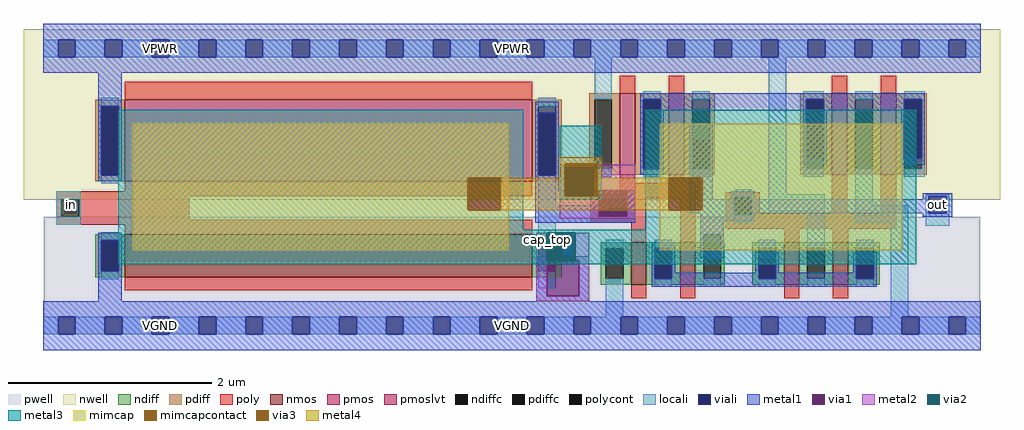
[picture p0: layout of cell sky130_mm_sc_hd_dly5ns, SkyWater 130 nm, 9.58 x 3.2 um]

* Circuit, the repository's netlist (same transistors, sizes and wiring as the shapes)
* NGSPICE file created from sky130_mm_sc_hd_dly5ns.ext - technology: sky130A

.subckt sky130_mm_sc_hd_dly5ns in out VPWR VGND VNB VPB
X0 a_1184_80# out VPWR VNB sky130_fd_pr__nfet_01v8 ad=3.99e+11p pd=4.42e+06u as=1.386e+11p ps=1.5e+06u w=420000u l=150000u
X1 cap_top VGND sky130_fd_pr__cap_mim_m3_1 l=1.24e+06u w=3.695e+06u
X2 VPWR out a_1184_80# VNB sky130_fd_pr__nfet_01v8 ad=0p pd=0u as=0p ps=0u w=420000u l=150000u
X3 VGND out a_1162_296# VPB sky130_fd_pr__pfet_01v8 ad=2.64e+11p pd=2.26e+06u as=7.52e+11p ps=6.68e+06u w=800000u l=150000u
X4 a_1162_296# out VGND VPB sky130_fd_pr__pfet_01v8 ad=0p pd=0u as=0p ps=0u w=800000u l=150000u
X5 cap_top in VGND VNB sky130_fd_pr__nfet_01v8 ad=1.218e+11p pd=1.42e+06u as=2.478e+11p ps=2.86e+06u w=420000u l=4e+06u
X6 cap_top VGND sky130_fd_pr__cap_mim_m3_1 l=1.24e+06u w=2.38e+06u
X7 a_1162_296# cap_top VPWR VPB sky130_fd_pr__pfet_01v8 ad=0p pd=0u as=4.72e+11p ps=4.38e+06u w=800000u l=150000u
X8 out cap_top a_1162_296# VPB sky130_fd_pr__pfet_01v8 ad=2.4e+11p pd=2.2e+06u as=0p ps=0u w=800000u l=150000u
X9 cap_top in VPWR VPB sky130_fd_pr__pfet_01v8_lvt ad=2.32e+11p pd=2.18e+06u as=0p ps=0u w=800000u l=4e+06u
X10 out cap_top a_1184_80# VNB sky130_fd_pr__nfet_01v8 ad=1.218e+11p pd=1.42e+06u as=0p ps=0u w=420000u l=150000u
X11 a_1184_80# cap_top VGND VNB sky130_fd_pr__nfet_01v8 ad=0p pd=0u as=0p ps=0u w=420000u l=150000u
.ends

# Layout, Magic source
magic
tech sky130A
magscale 1 2
<< nwell >>
rect -38 247 1878 582
<< pwell >>
rect 1 -17 1839 214
<< nmos >>
rect 160 95 960 179
rect 1154 80 1184 164
rect 1250 80 1280 164
rect 1454 80 1484 164
rect 1550 80 1580 164
<< pmos >>
rect 1132 296 1162 456
rect 1228 296 1258 456
rect 1548 296 1578 456
rect 1644 296 1674 456
<< pmoslvt >>
rect 160 283 960 443
<< ndiff >>
rect 102 167 160 179
rect 102 107 114 167
rect 148 107 160 167
rect 102 95 160 107
rect 960 167 1018 179
rect 960 107 972 167
rect 1006 107 1018 167
rect 960 95 1018 107
rect 1094 152 1154 164
rect 1094 92 1104 152
rect 1138 92 1154 152
rect 1094 80 1154 92
rect 1184 152 1250 164
rect 1184 92 1200 152
rect 1234 92 1250 152
rect 1184 80 1250 92
rect 1280 152 1338 164
rect 1280 92 1296 152
rect 1330 92 1338 152
rect 1280 80 1338 92
rect 1392 152 1454 164
rect 1392 92 1404 152
rect 1438 92 1454 152
rect 1392 80 1454 92
rect 1484 152 1550 164
rect 1484 92 1500 152
rect 1534 92 1550 152
rect 1484 80 1550 92
rect 1580 152 1642 164
rect 1580 92 1596 152
rect 1630 92 1642 152
rect 1580 80 1642 92
<< pdiff >>
rect 1072 444 1132 456
rect 102 431 160 443
rect 102 295 114 431
rect 148 295 160 431
rect 102 283 160 295
rect 960 431 1018 443
rect 960 295 972 431
rect 1006 295 1018 431
rect 1072 308 1082 444
rect 1116 308 1132 444
rect 1072 296 1132 308
rect 1162 444 1228 456
rect 1162 308 1178 444
rect 1212 308 1228 444
rect 1162 296 1228 308
rect 1258 444 1318 456
rect 1258 308 1274 444
rect 1308 308 1318 444
rect 1258 296 1318 308
rect 1486 444 1548 456
rect 1486 308 1498 444
rect 1532 308 1548 444
rect 1486 296 1548 308
rect 1578 444 1644 456
rect 1578 308 1594 444
rect 1628 308 1644 444
rect 1578 296 1644 308
rect 1674 444 1734 456
rect 1674 308 1690 444
rect 1724 308 1734 444
rect 1674 296 1734 308
rect 960 283 1018 295
<< ndiffc >>
rect 114 107 148 167
rect 972 107 1006 167
rect 1104 92 1138 152
rect 1200 92 1234 152
rect 1296 92 1330 152
rect 1404 92 1438 152
rect 1500 92 1534 152
rect 1596 92 1630 152
<< pdiffc >>
rect 114 295 148 431
rect 972 295 1006 431
rect 1082 308 1116 444
rect 1178 308 1212 444
rect 1274 308 1308 444
rect 1498 308 1532 444
rect 1594 308 1628 444
rect 1690 308 1724 444
<< poly >>
rect 160 443 960 479
rect 1132 456 1162 490
rect 1228 456 1258 490
rect 1548 456 1578 490
rect 1644 456 1674 490
rect 160 264 960 283
rect 25 254 960 264
rect 1132 280 1162 296
rect 1228 280 1258 296
rect 1132 258 1280 280
rect 25 248 286 254
rect 25 214 35 248
rect 70 214 286 248
rect 25 208 286 214
rect 1074 250 1280 258
rect 1074 248 1184 250
rect 1074 214 1112 248
rect 1146 214 1184 248
rect 25 198 960 208
rect 1074 202 1184 214
rect 160 179 960 198
rect 1154 164 1184 202
rect 1250 164 1280 250
rect 1340 252 1406 262
rect 1340 218 1356 252
rect 1390 220 1406 252
rect 1548 220 1578 296
rect 1644 220 1674 296
rect 1390 218 1674 220
rect 1340 190 1674 218
rect 1454 164 1484 190
rect 1550 164 1580 190
rect 160 69 960 95
rect 1154 54 1184 80
rect 1250 54 1280 80
rect 1454 54 1484 80
rect 1550 54 1580 80
<< polycont >>
rect 35 214 70 248
rect 1112 214 1146 248
rect 1356 218 1390 252
<< locali >>
rect 0 527 29 561
rect 63 527 121 561
rect 155 527 213 561
rect 247 527 305 561
rect 339 527 397 561
rect 431 527 489 561
rect 523 527 581 561
rect 615 527 673 561
rect 707 527 765 561
rect 799 527 857 561
rect 891 527 949 561
rect 983 527 1041 561
rect 1075 527 1133 561
rect 1167 527 1225 561
rect 1259 527 1317 561
rect 1351 527 1409 561
rect 1443 527 1501 561
rect 1535 527 1593 561
rect 1627 527 1685 561
rect 1719 527 1777 561
rect 1811 527 1840 561
rect 114 431 148 447
rect 114 279 148 295
rect 972 431 1006 447
rect 25 248 73 264
rect 25 214 35 248
rect 70 214 73 248
rect 25 198 73 214
rect 972 236 1006 295
rect 1082 444 1116 527
rect 1082 292 1116 308
rect 1178 444 1212 460
rect 1178 292 1212 308
rect 1274 444 1308 460
rect 1274 292 1308 308
rect 1090 248 1162 258
rect 972 214 1090 236
rect 1146 214 1162 248
rect 972 202 1162 214
rect 1356 252 1390 268
rect 1424 258 1458 527
rect 1492 444 1532 460
rect 1492 308 1498 444
rect 1492 292 1532 308
rect 1594 444 1628 460
rect 1424 224 1534 258
rect 1356 202 1390 218
rect 114 167 148 183
rect 114 91 148 107
rect 972 167 1006 202
rect 972 73 1006 107
rect 1104 152 1138 168
rect 1104 17 1138 92
rect 1200 152 1234 168
rect 1200 76 1234 92
rect 1296 76 1330 92
rect 1404 152 1438 168
rect 1404 76 1438 92
rect 1500 152 1534 224
rect 1594 236 1628 308
rect 1690 444 1730 460
rect 1724 308 1730 444
rect 1690 292 1730 308
rect 1732 254 1778 258
rect 1594 202 1698 236
rect 1500 76 1534 92
rect 1596 152 1630 168
rect 1596 76 1630 92
rect 1664 17 1698 202
rect 1732 220 1738 254
rect 1772 220 1778 254
rect 1732 196 1778 220
rect 0 -17 29 17
rect 63 -17 121 17
rect 155 -17 213 17
rect 247 -17 305 17
rect 339 -17 397 17
rect 431 -17 489 17
rect 523 -17 581 17
rect 615 -17 673 17
rect 707 -17 765 17
rect 799 -17 857 17
rect 891 -17 949 17
rect 983 -17 1041 17
rect 1075 -17 1133 17
rect 1167 -17 1225 17
rect 1259 -17 1317 17
rect 1351 -17 1409 17
rect 1443 -17 1501 17
rect 1535 -17 1593 17
rect 1627 -17 1685 17
rect 1719 -17 1777 17
rect 1811 -17 1840 17
<< viali >>
rect 29 527 63 561
rect 121 527 155 561
rect 213 527 247 561
rect 305 527 339 561
rect 397 527 431 561
rect 489 527 523 561
rect 581 527 615 561
rect 673 527 707 561
rect 765 527 799 561
rect 857 527 891 561
rect 949 527 983 561
rect 1041 527 1075 561
rect 1133 527 1167 561
rect 1225 527 1259 561
rect 1317 527 1351 561
rect 1409 527 1443 561
rect 1501 527 1535 561
rect 1593 527 1627 561
rect 1685 527 1719 561
rect 1777 527 1811 561
rect 114 295 148 431
rect 972 295 1006 417
rect 1178 308 1212 444
rect 1274 308 1308 364
rect 1090 214 1112 248
rect 1112 214 1146 248
rect 1356 218 1390 252
rect 1498 328 1532 444
rect 114 107 148 167
rect 1200 92 1234 152
rect 1296 152 1330 178
rect 1296 144 1330 152
rect 1404 92 1438 132
rect 1690 328 1724 444
rect 1596 92 1630 132
rect 1738 220 1772 254
rect 29 -17 63 17
rect 121 -17 155 17
rect 213 -17 247 17
rect 305 -17 339 17
rect 397 -17 431 17
rect 489 -17 523 17
rect 581 -17 615 17
rect 673 -17 707 17
rect 765 -17 799 17
rect 857 -17 891 17
rect 949 -17 983 17
rect 1041 -17 1075 17
rect 1133 -17 1167 17
rect 1225 -17 1259 17
rect 1317 -17 1351 17
rect 1409 -17 1443 17
rect 1501 -17 1535 17
rect 1593 -17 1627 17
rect 1685 -17 1719 17
rect 1777 -17 1811 17
<< metal1 >>
rect 0 561 1840 592
rect 0 527 29 561
rect 63 527 121 561
rect 155 527 213 561
rect 247 527 305 561
rect 339 527 397 561
rect 431 527 489 561
rect 523 527 581 561
rect 615 527 673 561
rect 707 527 765 561
rect 799 527 857 561
rect 891 527 949 561
rect 983 527 1041 561
rect 1075 527 1133 561
rect 1167 527 1225 561
rect 1259 527 1317 561
rect 1351 527 1409 561
rect 1443 527 1501 561
rect 1535 527 1593 561
rect 1627 527 1685 561
rect 1719 527 1777 561
rect 1811 527 1840 561
rect 0 496 1840 527
rect 108 431 154 496
rect 1172 444 1730 456
rect 108 295 114 431
rect 148 295 154 431
rect 108 283 154 295
rect 966 417 1012 439
rect 966 295 972 417
rect 1006 295 1012 417
rect 1172 308 1178 444
rect 1212 422 1498 444
rect 1212 308 1218 422
rect 1172 296 1218 308
rect 1268 364 1314 394
rect 1268 308 1274 364
rect 1308 308 1314 364
rect 1492 328 1498 422
rect 1532 422 1690 444
rect 1532 328 1538 422
rect 1492 316 1538 328
rect 1684 328 1690 422
rect 1724 328 1730 444
rect 1684 316 1730 328
rect 966 266 1012 295
rect 966 214 1090 266
rect 1146 214 1162 266
rect 1268 248 1314 308
rect 1350 252 1396 264
rect 1350 248 1356 252
rect 1268 220 1356 248
rect 966 202 1162 214
rect 1290 218 1356 220
rect 1390 248 1396 252
rect 1726 254 1784 260
rect 1726 248 1738 254
rect 1390 220 1738 248
rect 1772 220 1784 254
rect 1390 218 1396 220
rect 1290 206 1396 218
rect 1726 214 1784 220
rect 108 167 154 182
rect 108 107 114 167
rect 148 107 154 167
rect 1290 178 1336 206
rect 1194 152 1240 164
rect 108 48 154 107
rect 968 128 1072 136
rect 968 58 988 128
rect 1052 58 1072 128
rect 1194 92 1200 152
rect 1234 104 1240 152
rect 1290 144 1296 178
rect 1330 144 1336 178
rect 1290 132 1336 144
rect 1398 132 1444 144
rect 1398 104 1404 132
rect 1234 92 1404 104
rect 1438 104 1444 132
rect 1590 132 1636 144
rect 1590 104 1596 132
rect 1438 92 1596 104
rect 1630 92 1636 132
rect 1194 76 1636 92
rect 968 48 1072 58
rect 0 17 1840 48
rect 0 -17 29 17
rect 63 -17 121 17
rect 155 -17 213 17
rect 247 -17 305 17
rect 339 -17 397 17
rect 431 -17 489 17
rect 523 -17 581 17
rect 615 -17 673 17
rect 707 -17 765 17
rect 799 -17 857 17
rect 891 -17 949 17
rect 983 -17 1041 17
rect 1075 -17 1133 17
rect 1167 -17 1225 17
rect 1259 -17 1317 17
rect 1351 -17 1409 17
rect 1443 -17 1501 17
rect 1535 -17 1593 17
rect 1627 -17 1685 17
rect 1719 -17 1777 17
rect 1811 -17 1840 17
rect 0 -48 1840 -17
<< via1 >>
rect 1090 248 1146 266
rect 1090 214 1146 248
rect 988 58 1052 128
<< metal2 >>
rect 1014 310 1162 316
rect 1014 254 1024 310
rect 1080 266 1162 310
rect 1080 254 1090 266
rect 1014 214 1090 254
rect 1146 214 1162 266
rect 1014 210 1162 214
rect 968 58 988 182
rect 1044 128 1072 182
rect 1052 58 1072 128
rect 968 48 1072 58
<< via2 >>
rect 1024 254 1080 310
rect 988 128 1044 182
rect 988 126 1044 128
<< metal3 >>
rect 147 188 942 424
rect 1014 318 1096 392
rect 1014 254 1024 318
rect 1088 254 1096 318
rect 1014 248 1096 254
rect 1182 188 1714 424
rect 147 182 1714 188
rect 147 126 988 182
rect 1044 126 1714 182
rect 147 120 1714 126
<< via3 >>
rect 1024 310 1088 318
rect 1024 254 1080 310
rect 1080 254 1088 310
<< mimcap >>
rect 175 290 914 396
rect 175 226 834 290
rect 898 226 914 290
rect 175 148 914 226
rect 1210 290 1686 396
rect 1210 226 1228 290
rect 1292 226 1686 290
rect 1210 148 1686 226
<< mimcapcontact >>
rect 834 226 898 290
rect 1228 226 1292 290
<< metal4 >>
rect 1014 318 1096 330
rect 1014 290 1024 318
rect 832 226 834 290
rect 898 254 1024 290
rect 1088 290 1096 318
rect 1088 254 1228 290
rect 898 226 1228 254
rect 1292 226 1294 290
<< labels >>
flabel metal1 s 0 496 1840 592 0 FreeSans 160 0 0 0 VPWR
port 3 nsew power bidirectional abutment
flabel metal1 s 213 527 247 561 0 FreeSans 160 0 0 0 VPWR
port 3 nsew power bidirectional abutment
flabel metal1 s 213 -17 247 17 0 FreeSans 160 0 0 0 VGND
port 4 nsew ground bidirectional abutment
flabel metal1 s 0 -48 1840 48 0 FreeSans 160 0 0 0 VGND
port 4 nsew ground bidirectional abutment
flabel nwell s 213 527 247 561 0 FreeSans 160 0 0 0 VPB
port 5 nsew power bidirectional
flabel pwell s 213 -17 247 17 0 FreeSans 160 0 0 0 VNB
port 6 nsew ground bidirectional
rlabel locali 972 169 1006 169 1 cap_top
flabel metal1 s 1738 220 1772 254 0 FreeSans 160 0 0 0 out
port 2 nsew signal output
flabel locali s 38 221 72 255 7 FreeSans 160 0 0 0 in
port 1 nsew signal input
<< properties >>
string FIXED_BBOX 0 0 1840 544
string LEFclass CORE
string LEForigin 0 0
string LEFsite unithd
string LEFsource USER
<< end >>
